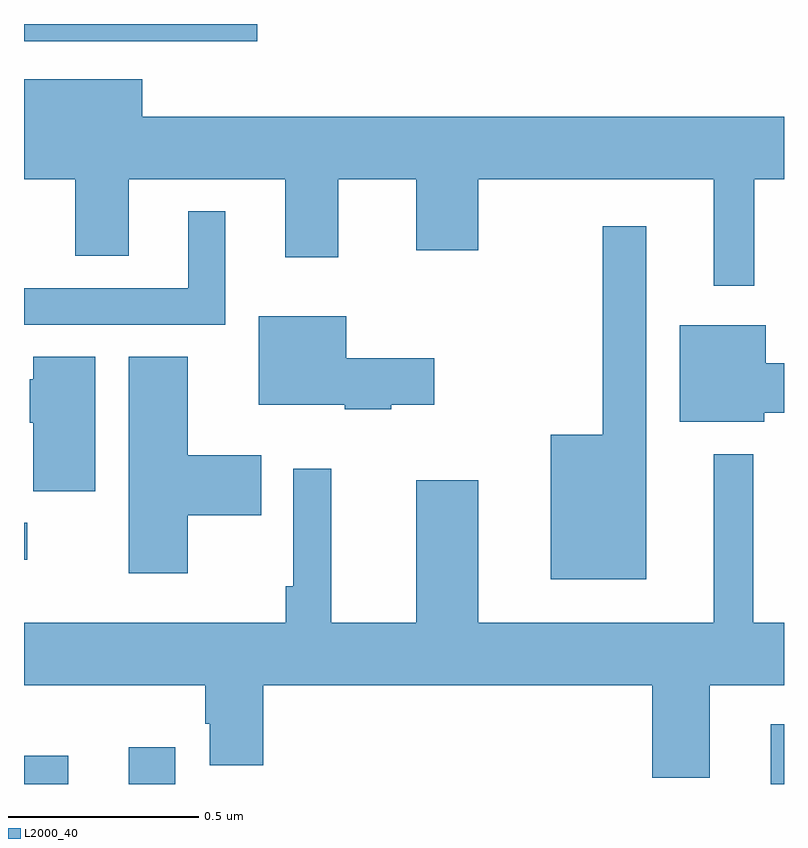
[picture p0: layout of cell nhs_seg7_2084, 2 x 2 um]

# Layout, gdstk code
import gdstk
lib = gdstk.Library(unit=1e-6, precision=1e-09)
def R(c, l, rs):  # rectangles x0, y0, x1, y1
    for r in rs: c.add(gdstk.rectangle(r[:2], r[2:], *l))
def P(c, l, *ps):  # polygons
    for p in ps: c.add(gdstk.Polygon(p, *l))
L2000_40 = (2000, 40)

nhs_seg7_2084 = lib.new_cell('nhs_seg7_2084')
R(nhs_seg7_2084, L2000_40, [(140,1023,140.116,1023.074), (140.276,1023,140.398,1023.097), (141.965,1023,142,1023.157), (140,1023.59,140.008,1023.687), (140,1024.955,140.614,1025)])
P(nhs_seg7_2084, L2000_40, [(141.922,1024.592),(142,1024.592),(142,1024.756),(140.311,1024.756),(140.311,1024.855),(140,1024.855),(140,1024.592),(140.135,1024.592),(140.135,1024.39),(140.275,1024.39),(140.275,1024.592),(140.687,1024.592),(140.687,1024.386),(140.827,1024.386),(140.827,1024.592),(141.032,1024.592),(141.032,1024.404),(141.196,1024.404),(141.196,1024.592),(141.815,1024.592),(141.815,1024.311),(141.922,1024.311)],
  [(140.53,1024.507),(140.432,1024.507),(140.432,1024.305),(140,1024.305),(140,1024.209),(140.53,1024.209)],
  [(141.637,1024.468),(141.523,1024.468),(141.523,1023.919),(141.386,1023.919),(141.386,1023.539),(141.637,1023.539)],
  [(140.966,1023.998),(141.079,1023.998),(141.079,1024.12),(140.848,1024.12),(140.848,1024.231),(140.618,1024.231),(140.618,1023.998),(140.844,1023.998),(140.844,1023.986),(140.966,1023.986)],
  [(141.948,1023.977),(142,1023.977),(142,1024.107),(141.952,1024.107),(141.952,1024.207),(141.725,1024.207),(141.725,1023.953),(141.948,1023.953)],
  [(140.431,1023.707),(140.624,1023.707),(140.624,1023.865),(140.431,1023.865),(140.431,1024.124),(140.276,1024.124),(140.276,1023.555),(140.431,1023.555)],
  [(140.188,1024.124),(140.024,1024.124),(140.024,1024.065),(140.015,1024.065),(140.015,1023.951),(140.024,1023.951),(140.024,1023.771),(140.188,1023.771)],
  [(141.805,1023.26),(142,1023.26),(142,1023.424),(141.919,1023.424),(141.919,1023.868),(141.815,1023.868),(141.815,1023.424),(141.196,1023.424),(141.196,1023.799),(141.032,1023.799),(141.032,1023.424),(140.808,1023.424),(140.808,1023.829),(140.709,1023.829),(140.709,1023.52),(140.689,1023.52),(140.689,1023.424),(140,1023.424),(140,1023.26),(140.477,1023.26),(140.477,1023.159),(140.489,1023.159),(140.489,1023.049),(140.63,1023.049),(140.63,1023.26),(141.653,1023.26),(141.653,1023.017),(141.805,1023.017)])

lib.write_gds('nhs_seg7_2084.gds')
